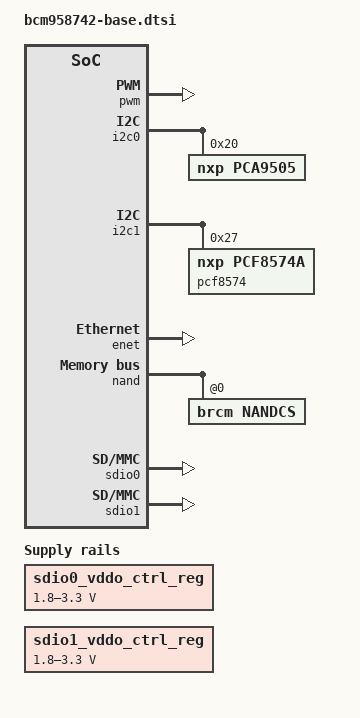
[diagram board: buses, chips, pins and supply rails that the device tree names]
FASTVC-BENCH-CORPUS:linux-main-100k-v1-e0bd41dc-8e12-4f1b-978d-a3645ae59da0
/*
 *  BSD LICENSE
 *
 *  Copyright(c) 2016-2017 Broadcom.  All rights reserved.
 *
 *  Redistribution and use in source and binary forms, with or without
 *  modification, are permitted provided that the following conditions
 *  are met:
 *
 *    * Redistributions of source code must retain the above copyright
 *      notice, this list of conditions and the following disclaimer.
 *    * Redistributions in binary form must reproduce the above copyright
 *      notice, this list of conditions and the following disclaimer in
 *      the documentation and/or other materials provided with the
 *      distribution.
 *    * Neither the name of Broadcom nor the names of its
 *      contributors may be used to endorse or promote products derived
 *      from this software without specific prior written permission.
 *
 *  THIS SOFTWARE IS PROVIDED BY THE COPYRIGHT HOLDERS AND CONTRIBUTORS
 *  "AS IS" AND ANY EXPRESS OR IMPLIED WARRANTIES, INCLUDING, BUT NOT
 *  LIMITED TO, THE IMPLIED WARRANTIES OF MERCHANTABILITY AND FITNESS FOR
 *  A PARTICULAR PURPOSE ARE DISCLAIMED. IN NO EVENT SHALL THE COPYRIGHT
/* bench 2278.0.0 2527eb2c48ee */
/* bench 2278.0.1 455a98f968ed */
/* bench 2278.0.2 d87bf1bb278e */
/* bench 2278.0.3 1bff9c20daf9 */
/* bench 2278.0.4 398c18076c62 */
/* bench 2278.0.5 8c71a28e0477 */
/* bench 2278.0.6 ac08ae99a3d8 */
/* bench 2278.0.7 0bc2fd3593df */
/* bench 2278.0.8 fdd20e0464b1 */
/* bench 2278.0.9 c78c37c33290 */
/* bench 2278.0.10 b9c084c5e012 */
/* bench 2278.0.11 37851682851c */
/* bench 2278.0.12 d932a11e766a */
/* bench 2278.0.13 2054a85084e5 */
 *  DATA, OR PROFITS; OR BUSINESS INTERRUPTION) HOWEVER CAUSED AND ON ANY
 *  THEORY OF LIABILITY, WHETHER IN CONTRACT, STRICT LIABILITY, OR TORT
 *  (INCLUDING NEGLIGENCE OR OTHERWISE) ARISING IN ANY WAY OUT OF THE USE
 *  OF THIS SOFTWARE, EVEN IF ADVISED OF THE POSSIBILITY OF SUCH DAMAGE.
 */

#include "stingray-board-base.dtsi"

/ {
	sdio0_vddo_ctrl_reg: sdio0_vddo_ctrl {
		compatible = "regulator-gpio";
		regulator-name = "sdio0_vddo_ctrl_reg";
		regulator-type = "voltage";
		regulator-min-microvolt = <1800000>;
		regulator-max-microvolt = <3300000>;
		gpios = <&pca9505 18 0>;
		states = <3300000 0x0
			  1800000 0x1>;
	};

	sdio1_vddo_ctrl_reg: sdio1_vddo_ctrl {
		compatible = "regulator-gpio";
/* bench 24750.0.0 b0be22e04815 */
/* bench 24750.0.1 903c3152c7cb */
/* bench 24750.0.2 1753ef6605d7 */
/* bench 24750.0.3 6cae1c6f058c */
/* bench 24750.0.4 e2725368c4f7 */
/* bench 24750.0.5 3e3bffc3a983 */
/* bench 24750.0.6 0e09514de362 */
/* bench 24750.0.7 b66abc7f8ce3 */
/* bench 24750.0.8 1daad6a8de5e */
/* bench 24750.0.9 79d256cf6f70 */
/* bench 24750.0.10 a0f79e6bcdf3 */
/* bench 24750.0.11 9daa1dd004e2 */
/* bench 24750.0.12 98e4f9de9e1d */
/* bench 24750.0.13 5c6ea048f202 */
/* bench 24750.0.14 ea1fd0161dd5 */
/* bench 24750.0.15 4a75bec2d03b */
		regulator-min-microvolt = <1800000>;
		regulator-max-microvolt = <3300000>;
		gpios = <&pca9505 19 0>;
		states = <3300000 0x0
			  1800000 0x1>;
	};
};

&pwm {
	status = "okay";
};

&i2c0 {
	status = "okay";

	pca9505: pca9505@20 {
		compatible = "nxp,pca9505";
		gpio-controller;
		#gpio-cells = <2>;
		reg = <0x20>;
	};
};

&i2c1 {
	status = "okay";

	pcf8574: pcf8574@27 {
		compatible = "nxp,pcf8574a";
		gpio-controller;
		#gpio-cells = <2>;
		reg = <0x27>;
	};
};

&enet {
	status = "okay";
};

&nand {
	status = "okay";
	nandcs@0 {
		compatible = "brcm,nandcs";
		reg = <0>;
		nand-ecc-mode = "hw";
		nand-ecc-strength = <8>;
		nand-ecc-step-size = <512>;
		nand-bus-width = <16>;
		brcm,nand-oob-sector-size = <16>;
		#address-cells = <1>;
		#size-cells = <1>;
	};
};

&sdio0 {
	vqmmc-supply = <&sdio0_vddo_ctrl_reg>;
	status = "okay";
};

&sdio1 {
	vqmmc-supply = <&sdio1_vddo_ctrl_reg>;
	status = "okay";
};
